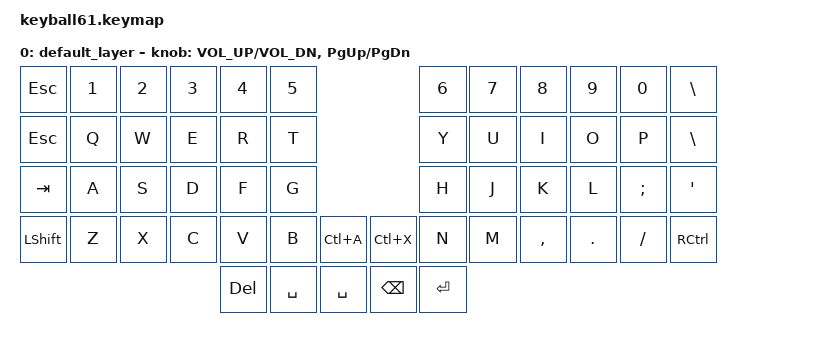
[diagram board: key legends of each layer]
#include <behaviors.dtsi>
#include <dt-bindings/zmk/keys.h>

/ {
    keymap {
        compatible = "zmk,keymap";

        default_layer {
            bindings = <
    &kp ESC    &kp 1    &kp 2    &kp 3     &kp 4     &kp 5                           &kp 6     &kp 7     &kp 8     &kp 9     &kp 0    &kp BSLH
    &kp ESC    &kp Q    &kp W    &kp E     &kp R     &kp T                           &kp Y     &kp U     &kp I     &kp O     &kp P    &kp BSLH
    &kp TAB    &kp A    &kp S    &kp D     &kp F     &kp G                           &kp H     &kp J     &kp K     &kp L     &kp SEMI &kp SQT
    &kp LSHIFT &kp Z    &kp X    &kp C     &kp V     &kp B      &kp LC(A)  &kp LC(X) &kp N     &kp M     &kp COMMA &kp DOT   &kp FSLH &kp RCTRL
                                           &kp DEL   &kp SPACE  &kp SPACE  &kp BSPC &kp RET
            >;

            sensor-bindings = <&inc_dec_kp C_VOL_UP C_VOL_DN &inc_dec_kp PG_UP PG_DN>;
        };
    };
};
